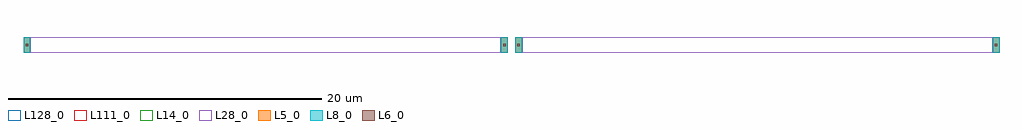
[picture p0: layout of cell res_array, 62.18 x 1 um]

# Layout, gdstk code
import gdstk
lib = gdstk.Library(unit=1e-6, precision=1e-09)
def R(c, l, rs):  # rectangles x0, y0, x1, y1
    for r in rs: c.add(gdstk.rectangle(r[:2], r[2:], *l))
L5_0 = (5, 0)
L6_0 = (6, 0)
L8_0 = (8, 0)
L14_0 = (14, 0)
L28_0 = (28, 0)
L111_0 = (111, 0)
L128_0 = (128, 0)

res_array = lib.new_cell('res_array')
R(res_array, L5_0, [(0,0,0.42,1), (30.42,0,30.84,1), (31.34,0,31.76,1), (61.76,0,62.18,1)])
R(res_array, L6_0, [(0.13,0.42,0.29,0.58), (30.55,0.42,30.71,0.58), (31.47,0.42,31.63,0.58), (61.89,0.42,62.05,0.58)])
R(res_array, L8_0, [(0,0,0.42,1), (30.42,0,30.84,1), (31.34,0,31.76,1), (61.76,0,62.18,1)])
R(res_array, L14_0, [(0.42,0,30.42,1), (31.76,0,61.76,1)])
R(res_array, L28_0, [(0.42,0,30.42,1), (31.76,0,61.76,1)])
R(res_array, L111_0, [(0.42,0,30.42,1), (31.76,0,61.76,1)])
R(res_array, L128_0, [(0.42,0,30.42,1), (31.76,0,61.76,1)])

lib.write_gds('res_array.gds')
